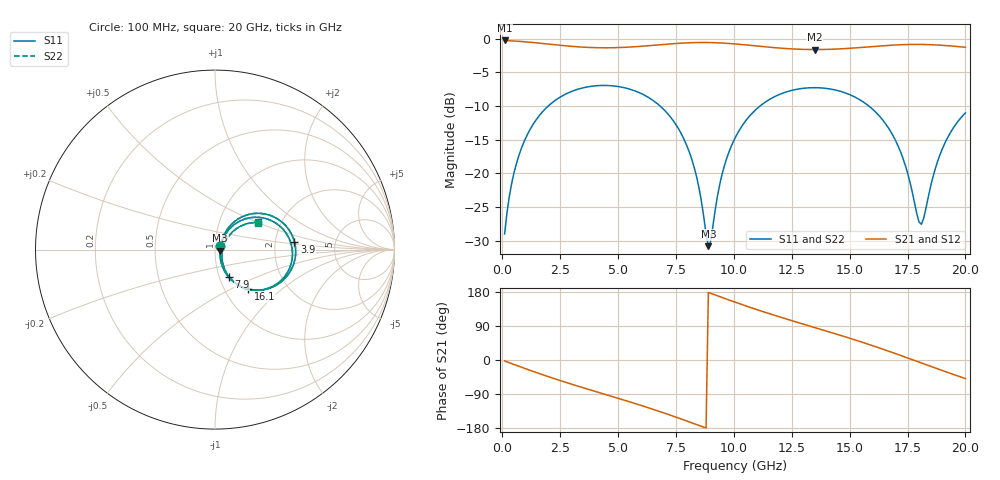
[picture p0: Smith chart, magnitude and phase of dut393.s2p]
! Touchstone file exported from HFSS 2026.1.0
!  File:  C:/ffzhzh/LocalFiles/Ansys_Project_Files/temp_train_TSV_RDL_393_1783091170_53076.aedt
!  Generated:  11:21:49 PM Jul  3, 2026
!  Design:  TSV_RDL
!  Project:  temp_train_TSV_RDL_393_1783091170_53076
! Variables:
!  h_bsmrdl = 5.21um
!  h_ox = 20um
!  h_rdl = 5um
!  h_sub = 96.75um
!  h_tmrdl = 3.4um
!  h_tsv = 96.75um
!  h_via = 3um
!  l_bsmrdl = 936.96um
!  l_sub = 6863.49um
!  l_tmrdl = 880.76um
!  m_sub = 200um
!  pitch = 39.95um
!  r_tsv = 4.86um
!  s_tmrdl = 10um
!  w_bsmrdl = 18.36um
!  w_sub = 500um
!  w_tmrdl = 24.83um
!  x_tsv_center1 = 893.175um
!  x_tsv_center2 = 1848.495um
!  x_tsv_center3 = 2754.085um
!  x_tsv_center4 = 3709.405um
!  x_tsv_center5 = 4614.995um
!  x_tsv_center6 = 5570.315um
# GHz S MA R 50.000000
! Terminal data exported
! Port[1] = TM_RDL1_1_T1
! Port[2] = TM_RDL5_1_T1
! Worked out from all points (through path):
!   200 points, 100 MHz to 20 GHz, reference 50 ohm
!   highest |S21| = -0.26 dB at 100 MHz (marker M1); lowest = -1.6 dB at 13.5 GHz (marker M2)
!   group delay of S21, straight-line fit = 56.1 ps
!   lowest |S11| = -30.8 dB at 8.9 GHz (marker M3), VSWR 1.06, Z = 52.9 - j0.707 ohm
!   |S11| at or under -10 dB: start of sweep to 1.985 GHz; 6.815 GHz to 11.13 GHz (4.314 GHz wide, 48.1 % of centre); 15.83 GHz to end of sweep
!   |S22| runs from -30.6 to -6.9 dB; largest |S21 - S12| = 1.6e-14
!   S11 on the Smith chart (normalised r, x): 100 MHz: 1.06, +0.04; 3.9 GHz: 2.56, +0.28; 7.9 GHz: 1.11, -0.35; 16.1 GHz: 1.28, -0.62; 20 GHz: 1.52, +0.50
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0.1  0.03547 33.4  0.971 -2.4  0.971 -2.4  0.03547 33.4
! Gamma 0 0 0 0
! Port Impedance 50 0 50 0
0.5  0.09989 58.6  0.962 -11.7  0.962 -11.7  0.09989 58.6
1.2  0.2119 53.1  0.9421 -27.3  0.9421 -27.3  0.2119 53.1
3.5  0.4322 12.7  0.8657 -73.4  0.8657 -73.4  0.4322 12.7
3.9  0.4446 5.7  0.8596 -80.8  0.8596 -80.8  0.4445 5.7
5.4  0.427 -20.4  0.8654 -108.5  0.8654 -108.5  0.427 -20.3
6.8  0.318 -45.4  0.902 -136.0  0.902 -136.0  0.318 -45.3
7.9  0.1712 -63.6  0.9305 -159.5  0.9305 -159.5  0.1713 -63.4
8.4  0.09288 -66.1  0.937 -170.6  0.937 -170.6  0.09307 -65.7
8.9  0.02875 -13.4  0.9372 178.2  0.9372 178.2  0.02944 -13.2
9.5  0.09958 55.8  0.9291 164.8  0.9291 164.8  0.0998 55.4
10.1  0.1898 51.2  0.9134 151.7  0.9134 151.7  0.1899 51.0
11.6  0.3589 26.0  0.8629 121.0  0.8629 121.0  0.359 25.9
13.4  0.4328 -4.7  0.8311 87.3  0.8311 87.3  0.4328 -4.7
13.5  0.4329 -6.4  0.831 85.5  0.831 85.5  0.433 -6.4
14.9  0.3907 -30.0  0.8467 59.5  0.8467 59.5  0.3908 -29.9
16.1  0.2877 -50.2  0.8778 35.6  0.8778 35.6  0.2878 -50.1
16.7  0.2141 -59.3  0.8931 23.0  0.8931 23.0  0.2143 -59.1
17.3  0.1299 -64.2  0.9039 9.9  0.9039 9.9  0.1302 -63.8
18.1  0.04185 -4.2  0.9072 -7.8  0.9072 -7.8  0.0431 -4.3
18.9  0.137 45.6  0.8959 -25.5  0.8959 -25.5  0.1375 45.0
20  0.2811 32.6  0.8644 -48.9  0.8644 -48.9  0.2814 32.3
